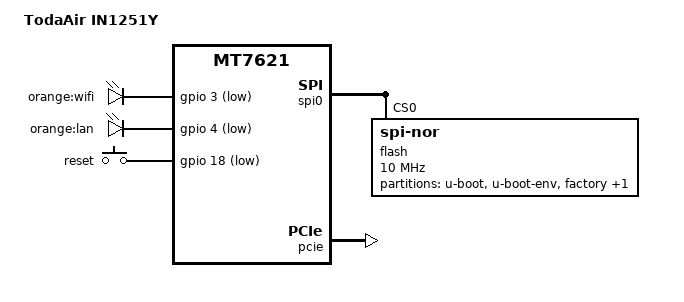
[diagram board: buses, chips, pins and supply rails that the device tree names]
#include "mt7621.dtsi"

#include <dt-bindings/gpio/gpio.h>
#include <dt-bindings/input/input.h>

/ {
	compatible = "todaair,in1251y", "mediatek,mt7621-soc";
	model = "TodaAir IN1251Y";

	aliases {
		led-boot = &ledlan;
		label-mac-device = &gmac0;
	};

	chosen {
		bootargs = "console=ttyS0,57600";
	};

	leds {
		compatible = "gpio-leds";

		ledwifi: wifi {
			label = "orange:wifi";
			gpios = <&gpio 3 GPIO_ACTIVE_LOW>;
		};

		ledlan: lan {
			label = "orange:lan";
			gpios = <&gpio 4 GPIO_ACTIVE_LOW>;
		};
	};

	keys {
		compatible = "gpio-keys";

		reset {
			label = "reset";
			gpios = <&gpio 18 GPIO_ACTIVE_LOW>;
			linux,code = <KEY_RESTART>;
		};
	};
};

&spi0 {
	status = "okay";

	flash@0 {
		compatible = "jedec,spi-nor";
		reg = <0>;
		spi-max-frequency = <10000000>;

		partitions {
			compatible = "fixed-partitions";
			#address-cells = <1>;
			#size-cells = <1>;

			partition@0 {
				label = "u-boot";
				reg = <0x0 0x30000>;
			};

			partition@30000 {
				label = "u-boot-env";
				reg = <0x30000 0x10000>;
			};

			factory: partition@40000 {
				label = "factory";
				reg = <0x40000 0x10000>;
			};

			partition@50000 {
				compatible = "denx,uimage";
				label = "firmware";
				reg = <0x50000 0xfb0000>;
			};
		};
	};
};

&pcie {
	status = "okay";
};

&pcie0 {
	wifi0: mt76@0,0 {
		reg = <0x0000 0 0 0 0>;
		mediatek,mtd-eeprom = <&factory 0x8000>;
		ieee80211-freq-limit = <5000000 6000000>;
	};
};

&pcie1 {
	wifi1: mt76@0,0 {
		reg = <0x0000 0 0 0 0>;
		mediatek,mtd-eeprom = <&factory 0x0000>;
		ieee80211-freq-limit = <2400000 2500000>;
	};
};

&gmac0 {
	mtd-mac-address = <&factory 0x4>;
};

&switch0 {
	ports {
		port@0 {
			status = "okay";
			label = "wan";
		};

		port@1 {
			status = "okay";
			label = "lan4";
		};

		port@2 {
			status = "okay";
			label = "lan3";
		};

		port@3 {
			status = "okay";
			label = "lan2";
		};

		port@4 {
			status = "okay";
			label = "lan1";
		};
	};
};

&state_default {
	gpio {
		groups = "i2c", "jtag", "uart2", "uart3";
		function = "gpio";
	};
};
